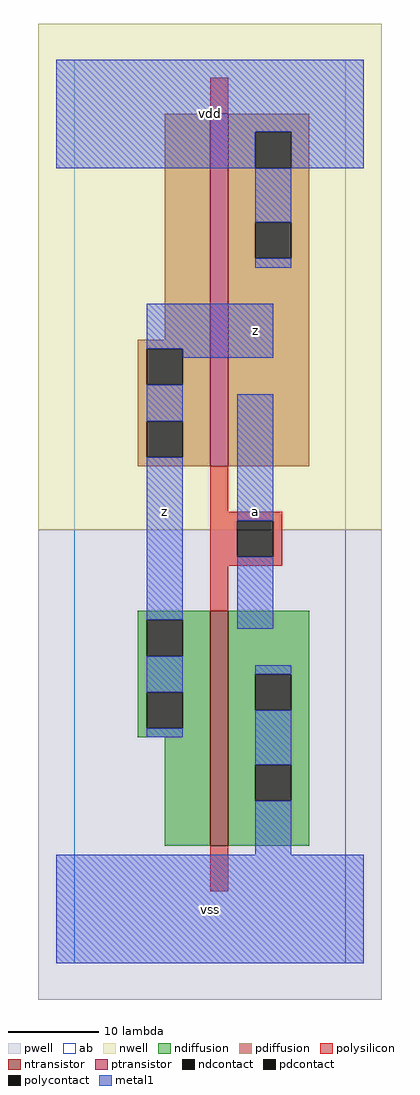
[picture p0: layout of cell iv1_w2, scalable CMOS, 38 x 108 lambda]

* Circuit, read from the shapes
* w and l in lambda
.subckt iv1_w2 a vdd vss z
M1 vss a z VSUBS nfet w=26 l=2
M2 vdd a z n1 pfet w=39 l=2
.ends

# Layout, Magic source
magic
tech scmos
<< ab >>
rect 0 0 30 100
<< pwell >>
rect -4 -4 34 48
<< nwell >>
rect -4 48 34 104
<< polysilicon >>
rect 15 94 17 98
rect 15 50 17 55
rect 15 49 23 50
rect 15 45 18 49
rect 22 45 23 49
rect 15 44 23 45
rect 15 39 17 44
rect 15 8 17 13
<< ndiffusion >>
rect 7 38 15 39
rect 7 34 8 38
rect 12 34 15 38
rect 7 30 15 34
rect 7 26 8 30
rect 12 26 15 30
rect 7 25 15 26
rect 10 13 15 25
rect 17 32 26 39
rect 17 28 20 32
rect 24 28 26 32
rect 17 22 26 28
rect 17 18 20 22
rect 24 18 26 22
rect 17 13 26 18
<< pdiffusion >>
rect 10 69 15 94
rect 7 68 15 69
rect 7 64 8 68
rect 12 64 15 68
rect 7 60 15 64
rect 7 56 8 60
rect 12 56 15 60
rect 7 55 15 56
rect 17 92 26 94
rect 17 88 20 92
rect 24 88 26 92
rect 17 82 26 88
rect 17 78 20 82
rect 24 78 26 82
rect 17 55 26 78
<< metal1 >>
rect -2 92 32 100
rect -2 88 20 92
rect 24 88 32 92
rect 20 82 24 88
rect 20 77 24 78
rect 8 68 22 73
rect 12 67 22 68
rect 8 60 12 64
rect 8 38 12 56
rect 18 49 22 63
rect 18 37 22 45
rect 8 30 12 34
rect 8 25 12 26
rect 20 32 24 33
rect 20 22 24 28
rect 20 12 24 18
rect -2 0 32 12
<< ntransistor >>
rect 15 13 17 39
<< ptransistor >>
rect 15 55 17 94
<< polycontact >>
rect 18 45 22 49
<< ndcontact >>
rect 8 34 12 38
rect 8 26 12 30
rect 20 28 24 32
rect 20 18 24 22
<< pdcontact >>
rect 8 64 12 68
rect 8 56 12 60
rect 20 88 24 92
rect 20 78 24 82
<< labels >>
rlabel metal1 10 50 10 50 6 z
rlabel metal1 15 6 15 6 6 vss
rlabel metal1 20 50 20 50 6 a
rlabel metal1 20 70 20 70 6 z
rlabel metal1 15 94 15 94 6 vdd
<< end >>
